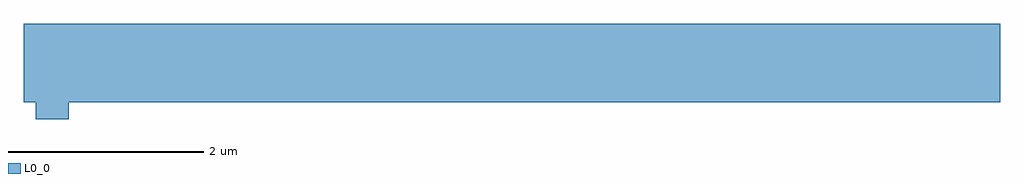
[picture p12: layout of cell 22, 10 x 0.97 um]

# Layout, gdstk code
import gdstk
lib = gdstk.Library(unit=1e-6, precision=1e-09)
def P(c, l, *ps):  # polygons
    for p in ps: c.add(gdstk.Polygon(p, *l))
L0_0 = (0, 0)

c_22 = lib.new_cell('22')
P(c_22, L0_0, [(1210,743.84),(1208.585,743.84),(1208.585,744.64),(1210,744.64),(1210,743.84)],
  [(1200,744.64),(1201.2,744.64),(1201.2,743.84),(1200,743.84),(1200,744.64)],
  [(1200,744.64),(1201.2,744.64),(1201.2,743.84),(1200.46,743.84),(1200.46,743.665),(1200.12,743.665),(1200.12,743.84),(1200,743.84),(1200,744.64)],
  [(1210,743.84),(1200.8,743.84),(1200.8,744.64),(1210,744.64),(1210,743.84)],
  [(1200,744.64),(1201.2,744.64),(1201.2,743.84),(1200,743.84),(1200,744.64)],
  [(1210,743.84),(1208.585,743.84),(1208.585,744.64),(1210,744.64),(1210,743.84)],
  [(1200,744.64),(1201.2,744.64),(1201.2,743.84),(1200.46,743.84),(1200.46,743.665),(1200.12,743.665),(1200.12,743.84),(1200,743.84),(1200,744.64)],
  [(1210,743.84),(1200.8,743.84),(1200.8,744.64),(1210,744.64),(1210,743.84)],
  [(1200,744.64),(1201.2,744.64),(1201.2,743.84),(1200,743.84),(1200,744.64)],
  [(1210,743.84),(1208.585,743.84),(1208.585,744.64),(1210,744.64),(1210,743.84)],
  [(1210,743.84),(1208.585,743.84),(1208.585,744.64),(1210,744.64),(1210,743.84)],
  [(1210,743.84),(1208.585,743.84),(1208.585,744.64),(1210,744.64),(1210,743.84)],
  [(1210,743.84),(1208.585,743.84),(1208.585,744.64),(1210,744.64),(1210,743.84)])

lib.write_gds('22.gds')
